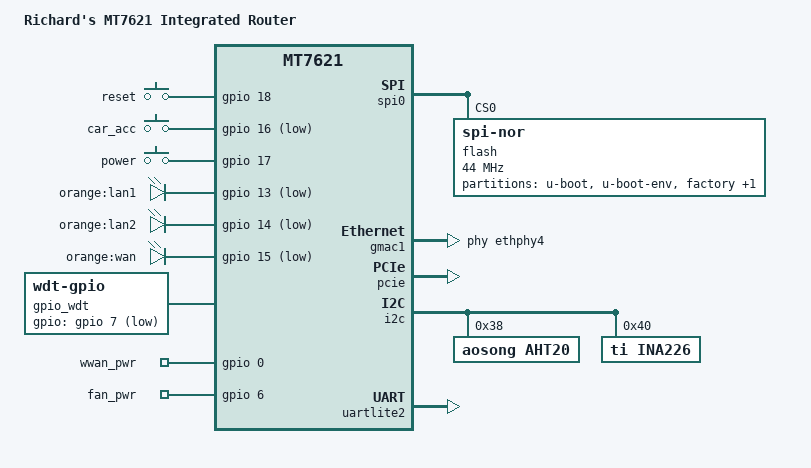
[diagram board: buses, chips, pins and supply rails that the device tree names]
// SPDX-License-Identifier: GPL-2.0-or-later
// Copyright 2026 Richard Tung <dyq@dyq.me>

#include "mt7621.dtsi"

#include <dt-bindings/gpio/gpio.h>
#include <dt-bindings/input/input.h>
#include <dt-bindings/thermal/thermal.h>

/ {
	compatible = "richard,mt7621-ig-router", "hilink,hlk-7621a-evb", "mediatek,mt7621-soc";
	model = "Richard's MT7621 Integrated Router";

	keys {
		compatible = "gpio-keys";

		reset {
			label = "reset";
			gpios = <&gpio 18 GPIO_ACTIVE_HIGH>;
			linux,code = <KEY_RESTART>;
		};

		car_acc {
			label = "car_acc";
			gpios = <&gpio 16 GPIO_ACTIVE_LOW>;
			linux,code = <BTN_0>;
		};

		power {
			label = "power";
			gpios = <&gpio 17 GPIO_ACTIVE_HIGH>;
			linux,code = <KEY_POWER>;
		};
	};

	aliases {
		led-boot = &led_orange_wan;
		led-failsafe = &led_orange_wan;
		led-running = &led_orange_wan;
		led-upgrade = &led_orange_wan;
	};

	leds {
		compatible = "gpio-leds";

		led_orange_lan1: orange_lan1 {
			label = "orange:lan1";
			gpios = <&gpio 13 GPIO_ACTIVE_LOW>;
		};

		led_orange_lan2: orange_lan2 {
			label = "orange:lan2";
			gpios = <&gpio 14 GPIO_ACTIVE_LOW>;
		};

		led_orange_wan: orange_wan {
			label = "orange:wan";
			gpios = <&gpio 15 GPIO_ACTIVE_LOW>;
		};
	};

	gpio_wdt: gpio-wdt {
		compatible = "linux,wdt-gpio";
		gpios = <&gpio 7 GPIO_ACTIVE_LOW>;
		hw_algo = "toggle";
		hw_margin_ms = <1000>;
		always-running;
	};

	gpio-export {

		compatible = "gpio-export";
		#size-cells = <0>;

		wwan-pwr {
			gpio-export,name = "wwan_pwr";
			gpio-export,output = <1>;
			gpios = <&gpio 0 GPIO_ACTIVE_HIGH>;
		};

		fan-pwr {
			gpio-export,name = "fan_pwr";
			gpio-export,output = <1>;
			gpios = <&gpio 6 GPIO_ACTIVE_HIGH>;
		};
	};
};

&spi0 {
	status = "okay";

	flash@0 {
		compatible = "jedec,spi-nor";
		reg = <0>;
		spi-max-frequency = <44000000>;
		broken-flash-reset;

		partitions {
			compatible = "fixed-partitions";
			#address-cells = <1>;
			#size-cells = <1>;

			partition@0 {
				label = "u-boot";
				reg = <0x0 0x30000>;
				read-only;
			};

			partition@30000 {
				label = "u-boot-env";
				reg = <0x30000 0x10000>;
				read-only;
			};

			partition@40000 {
				label = "factory";
				reg = <0x40000 0x10000>;
				read-only;

				nvmem-layout {
					compatible = "fixed-layout";
					#address-cells = <1>;
					#size-cells = <1>;

					macaddr_factory_e000: macaddr@e000 {
						reg = <0xe000 0x6>;
					};

					macaddr_factory_e006: macaddr@e006 {
						reg = <0xe006 0x6>;
					};
				};
			};

			partition@50000 {
				compatible = "denx,uimage";
				label = "firmware";
				reg = <0x50000 0x1fb0000>;
			};
		};
	};
};

&gmac0 {
	nvmem-cells = <&macaddr_factory_e000>;
	nvmem-cell-names = "mac-address";
};

&gmac1 {
	status = "okay";
	label = "wan";
	phy-handle = <&ethphy4>;

	nvmem-cells = <&macaddr_factory_e006>;
	nvmem-cell-names = "mac-address";
};

&ethphy4 {
	/delete-property/ interrupts;
};

&switch0 {
	ports {
		port@1 {
			status = "okay";
			label = "lan1";
		};

		port@2 {
			status = "okay";
			label = "lan2";
		};
	};
};

&pcie {
	status = "okay";
};

&i2c {
	status = "okay";

	aht20@38 {
		compatible = "aosong,aht20";
		reg = <0x38>;
		status = "okay";
	};

	ina226@40 {
		compatible = "ti,ina226";
		reg = <0x40>;
		status = "okay";
		shunt-resistor = <10000>;
	};
};

&uartlite2 {
	status = "okay";
};

&state_default {
	gpio {
		groups = "wdt", "jtag", "uart3";
		function = "gpio";
	};
};
